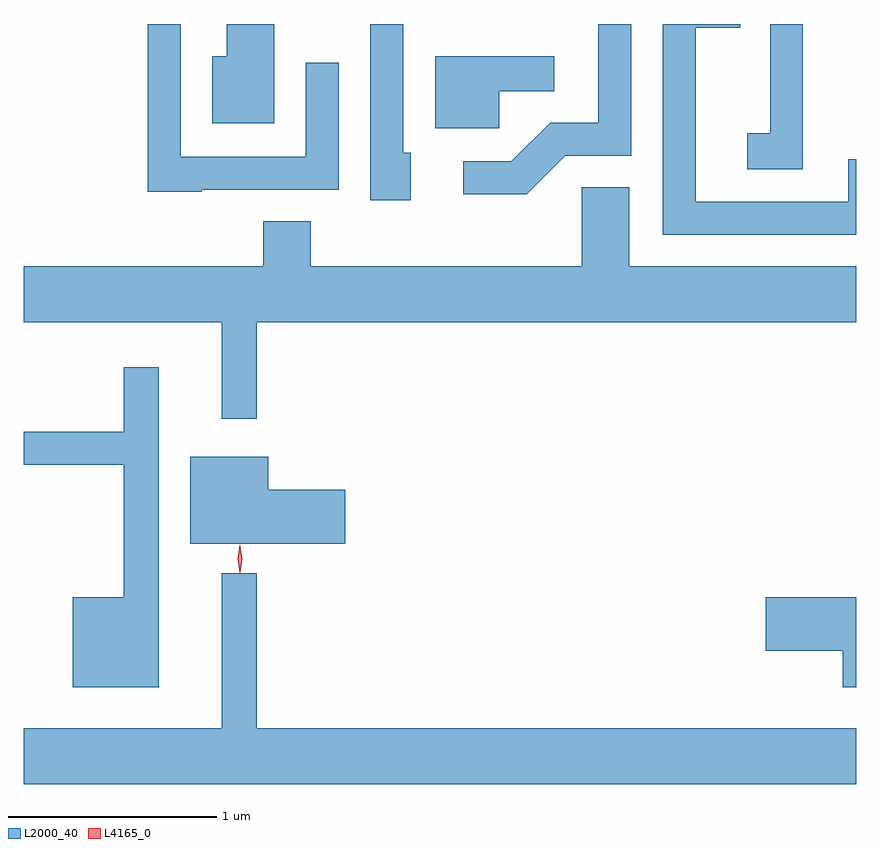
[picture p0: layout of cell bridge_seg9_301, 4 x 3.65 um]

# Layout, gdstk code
import gdstk
lib = gdstk.Library(unit=1e-6, precision=1e-09)
def P(c, l, *ps):  # polygons
    for p in ps: c.add(gdstk.Polygon(p, *l))
L2000_40 = (2000, 40)
L4165_0 = (4165, 0)

bridge_seg9_301 = lib.new_cell('bridge_seg9_301')
P(bridge_seg9_301, L2000_40, [(1022.885,2054.611),(1023.544,2054.611),(1023.544,2055.222),(1023.386,2055.222),(1023.386,2054.769),(1022.784,2054.769),(1022.784,2055.408),(1022.626,2055.408),(1022.626,2054.601),(1022.885,2054.601)],
  [(1023.234,2055.408),(1023.006,2055.408),(1023.006,2055.254),(1022.936,2055.254),(1022.936,2054.931),(1023.234,2054.931)],
  [(1025.774,2055.408),(1025.616,2055.408),(1025.616,2054.884),(1025.506,2054.884),(1025.506,2054.711),(1025.774,2054.711)],
  [(1023.889,2054.789),(1023.854,2054.789),(1023.854,2055.408),(1023.696,2055.408),(1023.696,2054.561),(1023.889,2054.561)],
  [(1026.03,2054.759),(1025.991,2054.759),(1025.991,2054.554),(1025.259,2054.554),(1025.259,2055.391),(1025.473,2055.391),(1025.473,2055.408),(1025.101,2055.408),(1025.101,2054.396),(1026.03,2054.396)],
  [(1024.632,2054.776),(1024.949,2054.776),(1024.949,2055.408),(1024.791,2055.408),(1024.791,2054.934),(1024.559,2054.934),(1024.373,2054.749),(1024.142,2054.749),(1024.142,2054.591),(1024.447,2054.591)],
  [(1024.314,2055.086),(1024.578,2055.086),(1024.578,2055.254),(1024.006,2055.254),(1024.006,2054.906),(1024.314,2054.906)],
  [(1022.03,2053.976),(1022.981,2053.976),(1022.981,2053.512),(1023.149,2053.512),(1023.149,2053.976),(1026.03,2053.976),(1026.03,2054.244),(1024.939,2054.244),(1024.939,2054.624),(1024.711,2054.624),(1024.711,2054.244),(1023.409,2054.244),(1023.409,2054.459),(1023.181,2054.459),(1023.181,2054.244),(1022.03,2054.244)],
  [(1022.679,2053.758),(1022.511,2053.758),(1022.511,2053.449),(1022.03,2053.449),(1022.03,2053.291),(1022.511,2053.291),(1022.511,2052.654),(1022.266,2052.654),(1022.266,2052.221),(1022.679,2052.221)],
  [(1023.574,2053.169),(1023.204,2053.169),(1023.204,2053.329),(1022.831,2053.329),(1022.831,2052.911),(1023.574,2052.911)],
  [(1026.03,2052.024),(1023.149,2052.024),(1023.149,2052.768),(1022.981,2052.768),(1022.981,2052.024),(1022.03,2052.024),(1022.03,2051.756),(1026.03,2051.756)],
  [(1026.03,2052.654),(1025.596,2052.654),(1025.596,2052.396),(1025.966,2052.396),(1025.966,2052.221),(1026.03,2052.221)])
P(bridge_seg9_301, L4165_0, [(1023.067,2052.77),(1023.067,2052.77),(1023.057,2052.838),(1023.067,2052.906),(1023.067,2052.906),(1023.068,2052.906),(1023.077,2052.838),(1023.068,2052.77)],
  [(1023.07,2052.773),(1023.07,2052.774),(1023.06,2052.836),(1023.07,2052.899),(1023.07,2052.9),(1023.07,2052.899),(1023.08,2052.836),(1023.07,2052.774)])

lib.write_gds('bridge_seg9_301.gds')
